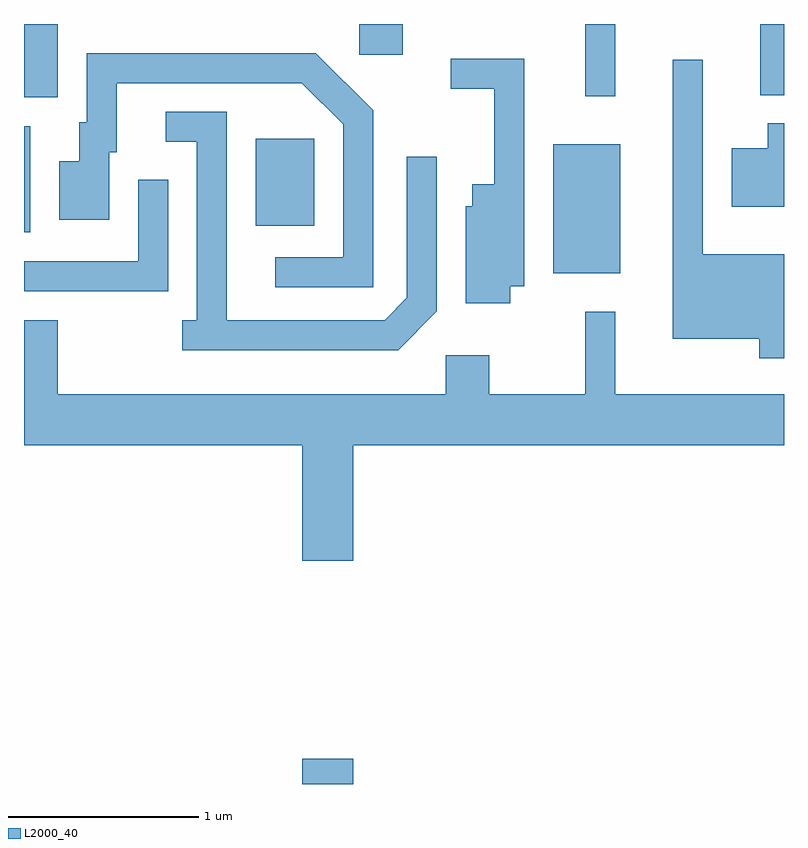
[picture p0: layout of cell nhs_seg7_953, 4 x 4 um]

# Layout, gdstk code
import gdstk
lib = gdstk.Library(unit=1e-6, precision=1e-09)
def R(c, l, rs):  # rectangles x0, y0, x1, y1
    for r in rs: c.add(gdstk.rectangle(r[:2], r[2:], *l))
def P(c, l, *ps):  # polygons
    for p in ps: c.add(gdstk.Polygon(p, *l))
L2000_40 = (2000, 40)

nhs_seg7_953 = lib.new_cell('nhs_seg7_953')
R(nhs_seg7_953, L2000_40, [(215.076,1770.252,215.344,1770.384), (216.396,1772.941,216.749,1773.619), (213.611,1773.156,213.644,1773.714), (214.831,1773.191,215.139,1773.649), (213.611,1773.866,213.789,1774.252), (216.566,1773.873,216.724,1774.252), (217.486,1773.878,217.611,1774.252), (215.376,1774.091,215.604,1774.252)])
P(nhs_seg7_953, L2000_40, [(215.449,1773.797),(215.147,1774.099),(213.941,1774.099),(213.941,1773.734),(213.901,1773.734),(213.901,1773.529),(213.796,1773.529),(213.796,1773.221),(214.059,1773.221),(214.059,1773.576),(214.099,1773.576),(214.099,1773.941),(215.074,1773.941),(215.291,1773.724),(215.291,1773.024),(214.933,1773.024),(214.933,1772.866),(215.449,1772.866)],
  [(216.169,1772.871),(216.244,1772.871),(216.244,1774.069),(215.858,1774.069),(215.858,1773.911),(216.086,1773.911),(216.086,1773.409),(215.971,1773.409),(215.971,1773.294),(215.936,1773.294),(215.936,1772.781),(216.169,1772.781)],
  [(217.611,1773.039),(217.184,1773.039),(217.184,1774.063),(217.026,1774.063),(217.026,1772.596),(217.481,1772.596),(217.481,1772.493),(217.611,1772.493)],
  [(215.784,1772.739),(215.784,1773.553),(215.626,1773.553),(215.626,1772.812),(215.509,1772.694),(214.679,1772.694),(214.679,1773.789),(214.358,1773.789),(214.358,1773.631),(214.521,1773.631),(214.521,1772.694),(214.443,1772.694),(214.443,1772.536),(215.582,1772.536)],
  [(217.611,1773.729),(217.526,1773.729),(217.526,1773.599),(217.336,1773.599),(217.336,1773.291),(217.611,1773.291)],
  [(214.369,1773.433),(214.211,1773.433),(214.211,1773.004),(213.611,1773.004),(213.611,1772.846),(214.369,1772.846)],
  [(215.344,1772.036),(217.611,1772.036),(217.611,1772.304),(216.724,1772.304),(216.724,1772.738),(216.566,1772.738),(216.566,1772.304),(216.059,1772.304),(216.059,1772.509),(215.831,1772.509),(215.831,1772.304),(213.789,1772.304),(213.789,1772.694),(213.611,1772.694),(213.611,1772.036),(215.076,1772.036),(215.076,1771.426),(215.344,1771.426)])

lib.write_gds('nhs_seg7_953.gds')
